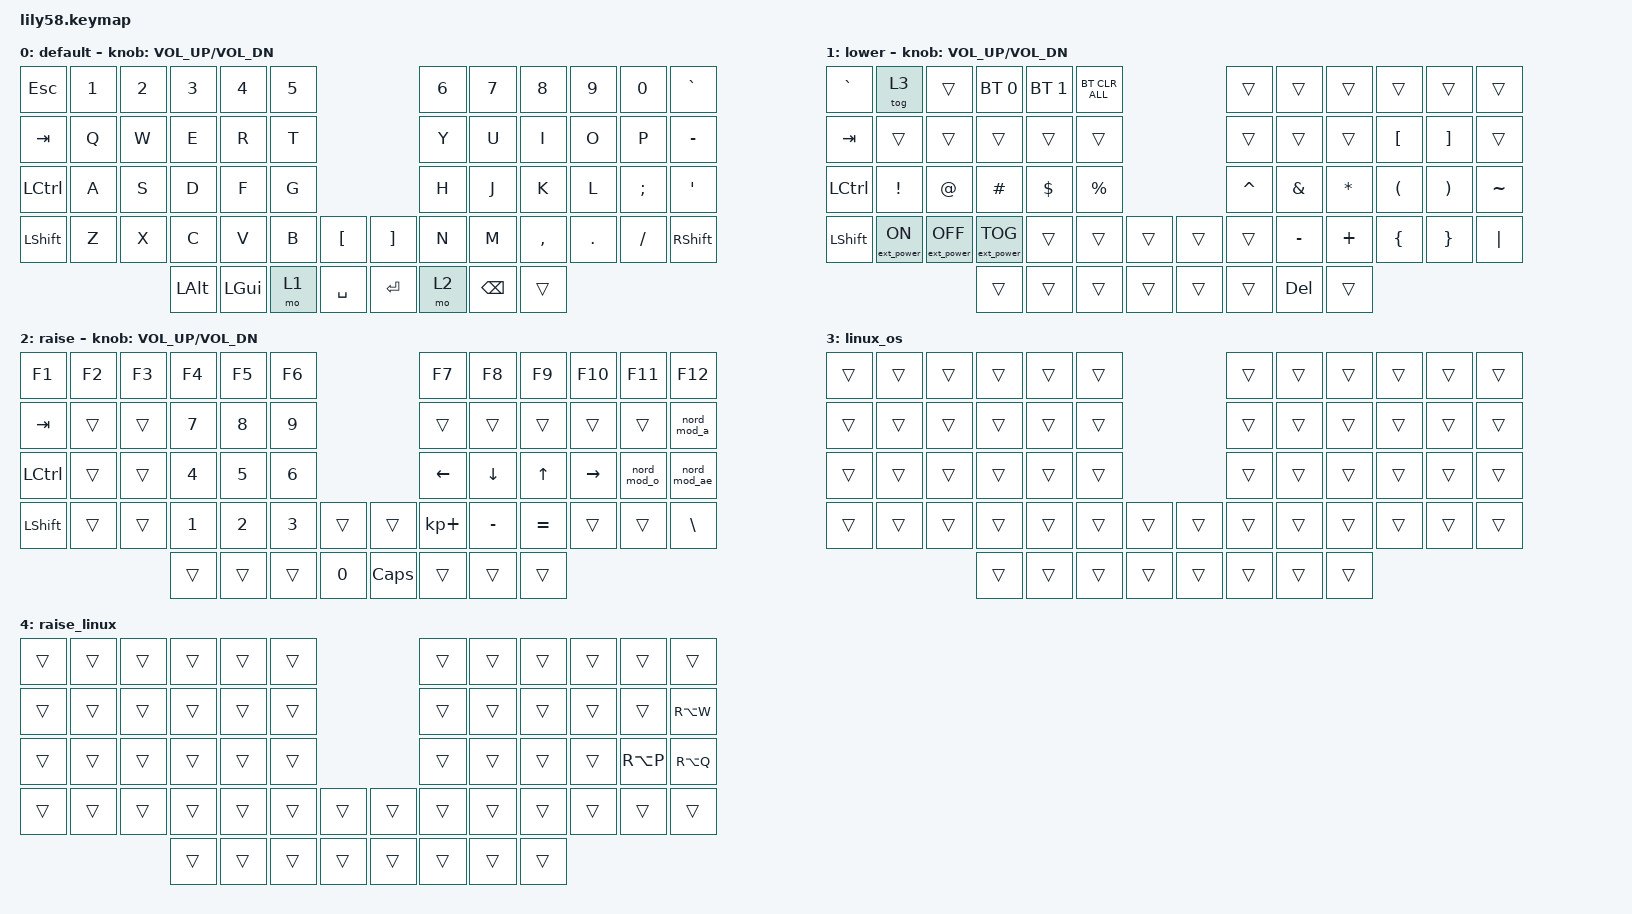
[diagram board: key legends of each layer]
/*
 * Copyright (c) 2020 The ZMK Contributors
 *
 * SPDX-License-Identifier: MIT
 */

#include <behaviors.dtsi>
#include <dt-bindings/zmk/bt.h>
#include <dt-bindings/zmk/ext_power.h>
#include <dt-bindings/zmk/keys.h>

/ {
    macros {
        nordic_a: nordic_a {
            compatible = "zmk,behavior-macro";
            #binding-cells = <0>;
            wait-ms = <0>;
            tap-ms = <0>;
            bindings =
                <&macro_press>,
                <&kp LALT>,
                <&macro_tap>,
                <&kp KP_N1 &kp KP_N3 &kp KP_N4>,
                <&macro_release>,
                <&kp LALT>;

            // Unicode for å

            label = "NORDIC_A";
        };

        nordic_ae: nordic_ae {
            compatible = "zmk,behavior-macro";
            #binding-cells = <0>;
            wait-ms = <0>;
            tap-ms = <0>;
            bindings =
                <&macro_press>,
                <&kp LALT>,
                <&macro_tap>,
                <&kp KP_N1 &kp KP_N3 &kp KP_N2>,
                <&macro_release>,
                <&kp LALT>;

            // Unicode for ä

            label = "NORDIC_AE";
        };

        nordic_o: nordic_o {
            compatible = "zmk,behavior-macro";
            #binding-cells = <0>;
            wait-ms = <0>;
            tap-ms = <0>;
            bindings =
                <&macro_press>,
                <&kp LALT>,
                <&macro_tap>,
                <&kp KP_N1 &kp KP_N4 &kp KP_N8>,
                <&macro_release>,
                <&kp LALT>;

            // Unicode for ö

            label = "NORDIC_O";
        };

        nordic_capital_a: nordic_capital_a {
            compatible = "zmk,behavior-macro";
            #binding-cells = <0>;
            wait-ms = <0>;
            tap-ms = <0>;
            bindings =
                <&macro_press>,
                <&kp LALT>,
                <&macro_tap>,
                <&kp KP_N1 &kp KP_N4 &kp KP_N3>,
                <&macro_release>,
                <&kp LALT>;

            // Unicode for Å

            label = "NORDIC_CAPITAL_A";
        };

        nordic_capital_ae: nordic_capital_ae {
            compatible = "zmk,behavior-macro";
            #binding-cells = <0>;
            wait-ms = <0>;
            tap-ms = <0>;
            bindings =
                <&macro_press>,
                <&kp LALT>,
                <&macro_tap>,
                <&kp KP_N1 &kp KP_N4 &kp KP_N2>,
                <&macro_release>,
                <&kp LALT>;

            // Unicode for Ä

            label = "NORDIC_CAPITAL_AE";
        };

        nordic_capital_o: nordic_capital_o {
            compatible = "zmk,behavior-macro";
            #binding-cells = <0>;
            wait-ms = <0>;
            tap-ms = <0>;
            bindings =
                <&macro_press>,
                <&kp LALT>,
                <&macro_tap>,
                <&kp KP_N1 &kp KP_N5 &kp KP_N3>,
                <&macro_release>,
                <&kp LALT>;

            // Unicode for Ö

            label = "NORDIC_CAPITAL_O";
        };
    };

    behaviors {
        nord_mod_a: nord_mod_a {
            compatible = "zmk,behavior-mod-morph";
            label = "NORD_MOD_A";
            bindings = <&nordic_a>, <&nordic_capital_a>;

            #binding-cells = <0>;
            mods = <(MOD_LSFT|MOD_RSFT)>;
        };

        nord_mod_ae: nord_mod_ae {
            compatible = "zmk,behavior-mod-morph";
            label = "NORD_MOD_AE";
            bindings = <&nordic_ae>, <&nordic_capital_ae>;

            #binding-cells = <0>;
            mods = <(MOD_LSFT|MOD_RSFT)>;
        };

        nord_mod_o: nord_mod_o {
            compatible = "zmk,behavior-mod-morph";
            label = "NORD_MOD_O";
            bindings = <&nordic_o>, <&nordic_capital_o>;

            #binding-cells = <0>;
            mods = <(MOD_LSFT|MOD_RSFT)>;
        };
    };

    conditional_layers {
        compatible = "zmk,conditional-layers";
        raise_linux {
            if-layers = <2 3>;
            then-layer = <4>;
        };
    };

    keymap {
        compatible = "zmk,keymap";

        default {
            // ------------------------------------------------------------------------------------------------------------
            // |  ESC  |  1  |  2  |  3   |  4   |  5   |                   |  6   |  7    |  8    |  9   |   0   |   `   |
            // |  TAB  |  Q  |  W  |  E   |  R   |  T   |                   |  Y   |  U    |  I    |  O   |   P   |   -   |
            // |  CTRL |  A  |  S  |  D   |  F   |  G   |                   |  H   |  J    |  K    |  L   |   ;   |   '   |
            // | SHIFT |  Z  |  X  |  C   |  V   |  B   |   "["  |  |  "]"  |  N   |  M    |  ,    |  .   |   /   | SHIFT |
            //                     | ALT  | GUI  | LOWER|  SPACE |  | ENTER | RAISE| BSPC  | BSPC  |

            bindings = <
&kp ESC    &kp N1  &kp N2  &kp N3    &kp N4    &kp N5                         &kp N6  &kp N7         &kp N8     &kp N9   &kp N0    &kp GRAVE
&kp TAB    &kp Q   &kp W   &kp E     &kp R     &kp T                          &kp Y   &kp U          &kp I      &kp O    &kp P     &kp MINUS
&kp LCTRL  &kp A   &kp S   &kp D     &kp F     &kp G                          &kp H   &kp J          &kp K      &kp L    &kp SEMI  &kp SQT
&kp LSHFT  &kp Z   &kp X   &kp C     &kp V     &kp B   &kp LBKT     &kp RBKT  &kp N   &kp M          &kp COMMA  &kp DOT  &kp FSLH  &kp RSHFT
                           &kp LALT  &kp LGUI  &mo 1   &kp SPACE    &kp RET   &mo 2   &kp BACKSPACE  &trans
            >;

            sensor-bindings = <&inc_dec_kp C_VOL_UP C_VOL_DN>;
        };

        lower {
            // ------------------------------------------------------------------------------------------------------------
            // | BTCLR | BT1 | BT2 |  BT3 |  BT4 |  BT5 |                   |      |       |       |      |       |       |
            // |  F1   |  F2 |  F3 |  F4  |  F5  |  F6  |                   |  F7  |  F8   |  F9   |  F10 |  F11  |  F12  |
            // |   `   |  !  |  @  |  #   |  $   |  %   |                   |  ^   |  &    |  *    |  (   |   )   |   ~   |
            // |       |     |     |      |      |      |        |  |       |      |  _    |  +    |  {   |   }   |  "|"  |
            //                     |      |      |      |        |  |       |      |       |       |

            bindings = <
&kp GRAVE       &tog 3            &trans             &bt BT_SEL 0       &bt BT_SEL 1  &bt BT_CLR_ALL                    &trans     &trans     &trans     &trans            &trans             &trans
&kp TAB         &trans            &trans             &trans             &trans        &trans                            &trans     &trans     &trans     &kp LEFT_BRACKET  &kp RIGHT_BRACKET  &trans
&kp LCTRL       &kp EXCL          &kp AT             &kp HASH           &kp DOLLAR    &kp PRCNT                         &kp CARET  &kp AMPS   &kp ASTRK  &kp LPAR          &kp RPAR           &kp TILDE
&kp LEFT_SHIFT  &ext_power EP_ON  &ext_power EP_OFF  &ext_power EP_TOG  &trans        &trans          &trans    &trans  &trans     &kp MINUS  &kp PLUS   &kp LBRC          &kp RBRC           &kp PIPE
                                                     &trans             &trans        &trans          &trans    &trans  &trans     &kp DEL    &trans
            >;

            sensor-bindings = <&inc_dec_kp C_VOL_UP C_VOL_DN>;
        };

        raise {
            // ------------------------------------------------------------------------------------------------------------
            // |       |     |     |      |      |      |                   |      |       |       |      |       |       |
            // |   `   |  1  |  2  |  3   |  4   |  5   |                   |  6   |   7   |   8   |  9   |   0   |       |
            // |   F1  |  F2 |  F3 |  F4  |  F5  |  F6  |                   |  <-  |   v   |  ^    |  ->  |       |       |
            // |   F7  |  F8 |  F9 |  F10 |  F11 |  F12 |        |  |       |  +   |   -   |   =   |  [   |   ]   |   \   |
            //                     |      |      |      |        |  |       |      |       |       |

            bindings = <
&kp F1          &kp F2  &kp F3  &kp F4        &kp F5        &kp F6                            &kp F7       &kp F8     &kp F9     &kp F10    &kp F11      &kp F12
&kp TAB         &trans  &trans  &kp N7        &kp N8        &kp N9                            &trans       &trans     &trans     &trans     &trans       &nord_mod_a
&kp LCTRL       &trans  &trans  &kp NUMBER_4  &kp NUMBER_5  &kp NUMBER_6                      &kp LEFT     &kp DOWN   &kp UP     &kp RIGHT  &nord_mod_o  &nord_mod_ae
&kp LEFT_SHIFT  &trans  &trans  &kp NUMBER_1  &kp NUMBER_2  &kp NUMBER_3  &trans    &trans    &kp KP_PLUS  &kp MINUS  &kp EQUAL  &trans     &trans       &kp BSLH
                                &trans        &trans        &trans        &kp N0    &kp CAPS  &trans       &trans     &trans
            >;

            sensor-bindings = <&inc_dec_kp C_VOL_UP C_VOL_DN>;
        };

        linux_os {
            // toggled via LOWER + "1": marks the host as Linux (xkb us(altgr-intl))
            bindings = <
&trans  &trans  &trans  &trans  &trans  &trans                    &trans  &trans  &trans  &trans  &trans  &trans
&trans  &trans  &trans  &trans  &trans  &trans                    &trans  &trans  &trans  &trans  &trans  &trans
&trans  &trans  &trans  &trans  &trans  &trans                    &trans  &trans  &trans  &trans  &trans  &trans
&trans  &trans  &trans  &trans  &trans  &trans  &trans    &trans  &trans  &trans  &trans  &trans  &trans  &trans
                        &trans  &trans  &trans  &trans    &trans  &trans  &trans  &trans
            >;
        };

        raise_linux {
            // active when RAISE + linux_os: same key positions as raise, AltGr combos from us(altgr-intl)
            // row 1 (TAB row) "-" key: RA(W)=å ; row 2 (CTRL row) ";" key: RA(P)=ö, "'" key: RA(Q)=ä
            // Shift passes through -> Å Ö Ä
            bindings = <
&trans  &trans  &trans  &trans  &trans  &trans                    &trans  &trans  &trans  &trans  &trans     &trans
&trans  &trans  &trans  &trans  &trans  &trans                    &trans  &trans  &trans  &trans  &trans     &kp RA(W)
&trans  &trans  &trans  &trans  &trans  &trans                    &trans  &trans  &trans  &trans  &kp RA(P)  &kp RA(Q)
&trans  &trans  &trans  &trans  &trans  &trans  &trans    &trans  &trans  &trans  &trans  &trans  &trans     &trans
                        &trans  &trans  &trans  &trans    &trans  &trans  &trans  &trans
            >;
        };
    };
};
